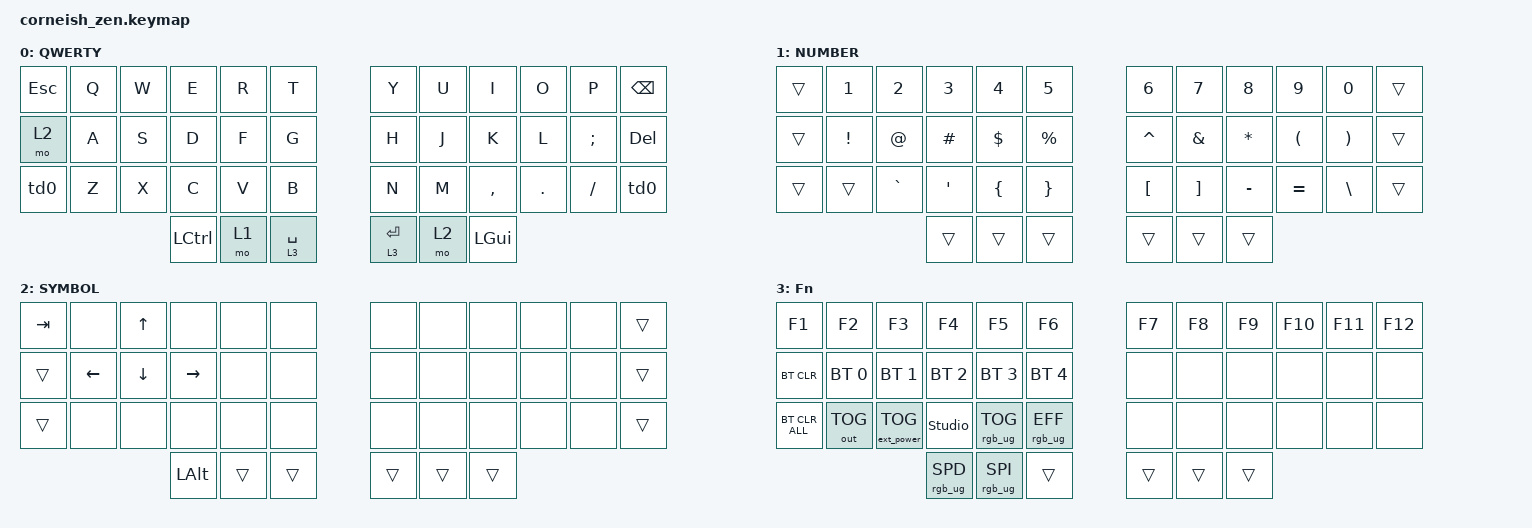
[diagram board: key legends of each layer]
/*
 * Copyright (c) 2020 The ZMK Contributors
 *
 * SPDX-License-Identifier: MIT
 */

#include <behaviors.dtsi>
#include <dt-bindings/zmk/bt.h>
#include <dt-bindings/zmk/keys.h>
#include <dt-bindings/zmk/outputs.h>
#include <dt-bindings/zmk/rgb.h>
#include <dt-bindings/zmk/ext_power.h>

/ {
    chosen {
        zmk,matrix_transform = &default_transform;

        // zmk,matrix_transform = &five_column_transform;
    };
};

/ {
    behaviors {
        td0: td0 {
            compatible = "zmk,behavior-tap-dance";
            label = "TD0";
            #binding-cells = <0>;
            bindings = <&kp LEFT_SHIFT>, <&kp CAPS>;
        };
    };

    keymap {
        compatible = "zmk,keymap";



        default_layer {
            display-name = "QWERTY";

            // --------------------------------------------------------------------------------
            // |  ESC |  Q  |  W  |  E  |  R  |  T  |   |  Y  |  U   |  I  |  O  |  P  | BKSP |
            // |  RSE |  A  |  S  |  D  |  F  |  G  |   |  H  |  J   |  K  |  L  |  ;  |  DEL |
            // | SHFT |  Z  |  X  |  C  |  V  |  B  |   |  N  |  M   |  ,  |  .  |  /  | SHFT |
            //                    |CTRL | LWR | SPC |   | ENT | RSE  | GUI |

            bindings = <
&kp ESC    &kp Q  &kp W  &kp E     &kp R  &kp T          &kp Y        &kp U  &kp I      &kp O    &kp P     &kp BSPC
&mo 2      &kp A  &kp S  &kp D     &kp F  &kp G          &kp H        &kp J  &kp K      &kp L    &kp SEMI  &kp DEL
&td0       &kp Z  &kp X  &kp C     &kp V  &kp B          &kp N        &kp M  &kp COMMA  &kp DOT  &kp FSLH  &td0
                         &kp LCTRL &mo 1  &lt 3 SPACE    &lt 3 ENTER  &mo 2  &kp LGUI
            >;
        };

        lower_layer {
            display-name = "NUMBER";

            // -----------------------------------------------------------------------------------------
            // |  ESC |  1  |  2  |  3  |  4  |  5  |   |  6  |  7  |  8  |  9  |  0  | BKSP |
            // |  RSE |  !  |  @  |  #  |  $  |  %  |   |  ^  |  &  |  *  |  (  |  )  |  DEL |
            // | SHFT |     |  `  |  '  |  {  |  }  |   |  [  |  ]  |  -  |  =  |  \  | SHFT |
            //                    |CTRL | LWR | SPC |   | ENT | RSE | GUI |

            bindings = <
&trans  &kp N1    &kp N2     &kp N3    &kp N4    &kp N5       &kp N6     &kp N7    &kp N8     &kp N9     &kp N0    &trans
&trans  &kp EXCL  &kp AT     &kp HASH  &kp DLLR  &kp PRCNT    &kp CARET  &kp AMPS  &kp ASTRK  &kp LPAR   &kp RPAR  &trans
&trans  &trans    &kp GRAVE  &kp SQT   &kp LBRC  &kp RBRC     &kp LBKT   &kp RBKT  &kp MINUS  &kp EQUAL  &kp BSLH  &trans
                             &trans    &trans    &trans       &trans     &trans    &trans
            >;
        };

        raise_layer {
            display-name = "SYMBOL";

            // -----------------------------------------------------------------------------------------
            // |  TAB |     |  UP |     |     |     |   |     |     |     |     |     | BKSP |
            // |  RSR |LEFT |DOWN |RIGHT|     |     |   |     |     |     |     |     |  DEL |
            // | SHFT |     |     |     |     |     |   |     |     |     |     |     | SHFT |
            //                    | ALT | LWR | SPC |   | ENT | RSE | GUI |

            bindings = <
&kp TAB  &none           &kp UP_ARROW    &none            &none   &none     &none   &none   &none  &none  &none  &trans
&trans   &kp LEFT_ARROW  &kp DOWN_ARROW  &kp RIGHT_ARROW  &none   &none     &none   &none   &none  &none  &none  &trans
&trans   &none           &none           &none            &none   &none     &none   &none   &none  &none  &none  &trans
                                         &kp LALT         &trans  &trans    &trans  &trans  &trans
            >;
        };

        layer_3 {
            display-name = "Fn";
            bindings = <
&kp F1          &kp F2        &kp F3             &kp F4           &kp F5           &kp F6           &kp F7  &kp F8  &kp F9  &kp F10  &kp F11  &kp F12
&bt BT_CLR      &bt BT_SEL 0  &bt BT_SEL 1       &bt BT_SEL 2     &bt BT_SEL 3     &bt BT_SEL 4     &none   &none   &none   &none    &none    &none
&bt BT_CLR_ALL  &out OUT_TOG  &ext_power EP_TOG  &studio_unlock   &rgb_ug RGB_TOG  &rgb_ug RGB_EFF  &none   &none   &none   &none    &none    &none
                                                 &rgb_ug RGB_SPD  &rgb_ug RGB_SPI  &trans           &trans  &trans  &trans
            >;
        };
    };
};
